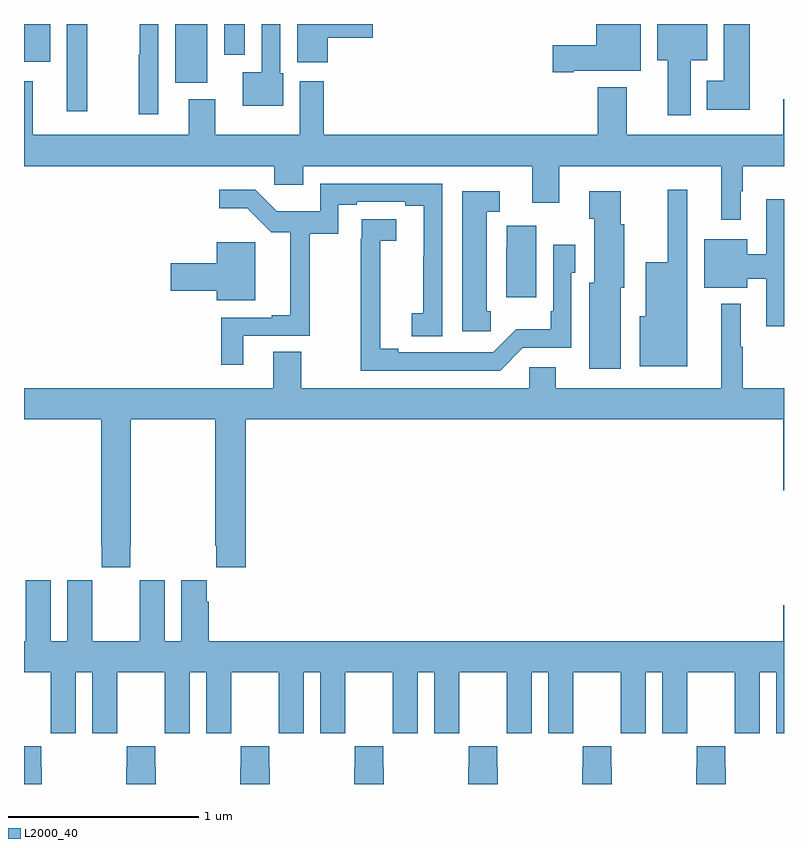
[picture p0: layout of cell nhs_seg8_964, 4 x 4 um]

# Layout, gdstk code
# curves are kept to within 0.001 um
import gdstk
lib = gdstk.Library(unit=1e-6, precision=1e-09)
def R(c, l, rs):  # rectangles x0, y0, x1, y1
    for r in rs: c.add(gdstk.rectangle(r[:2], r[2:], *l))
def P(c, l, *ps):  # polygons
    for p in ps: c.add(gdstk.Polygon(p, *l))
L2000_40 = (2000, 40)

nhs_seg8_964 = lib.new_cell('nhs_seg8_964')
R(nhs_seg8_964, L2000_40, [(173.225,1131.441,173.332,1131.9), (173.795,1131.59,173.965,1131.9), (173,1131.701,173.137,1131.9), (174.053,1131.738,174.163,1131.9)])
P(nhs_seg8_964, L2000_40, [(175.894,1131.653),(176.245,1131.653),(176.245,1131.9),(176.012,1131.9),(176.012,1131.788),(175.782,1131.788),(175.782,1131.646),(175.894,1131.646)],
  [(174.599,1131.827),(174.835,1131.827),(174.835,1131.9),(174.437,1131.9),(174.437,1131.699),(174.599,1131.699)],
  [(173.706,1131.9),(173.61,1131.9),(173.61,1131.738),(173.605,1131.738),(173.605,1131.426),(173.706,1131.426)],
  [(176.509,1131.71),(176.596,1131.71),(176.596,1131.9),(176.333,1131.9),(176.333,1131.71),(176.387,1131.71),(176.387,1131.42),(176.509,1131.42)],
  [(174.364,1131.642),(174.348,1131.642),(174.348,1131.9),(174.252,1131.9),(174.252,1131.646),(174.152,1131.646),(174.152,1131.47),(174.364,1131.47)],
  [(176.819,1131.9),(176.684,1131.9),(176.684,1131.601),(176.594,1131.601),(176.594,1131.449),(176.819,1131.449)],
  [(176.773,1131.02),(176.783,1131.02),(176.783,1131.152),(177,1131.152),(177,1131.505),(176.996,1131.505),(176.996,1131.316),(176.173,1131.316),(176.173,1131.568),(176.021,1131.568),(176.021,1131.316),(174.578,1131.316),(174.578,1131.598),(174.452,1131.598),(174.452,1131.316),(174.007,1131.316),(174.007,1131.505),(173.867,1131.505),(173.867,1131.316),(173.047,1131.316),(173.047,1131.598),(173,1131.598),(173,1131.152),(174.318,1131.152),(174.318,1131.054),(174.469,1131.054),(174.469,1131.152),(175.676,1131.152),(175.676,1130.958),(175.816,1130.958),(175.816,1131.152),(176.669,1131.152),(176.669,1130.871),(176.773,1130.871)],
  [(174.154,1130.259),(174.503,1130.259),(174.503,1130.797),(174.654,1130.797),(174.654,1130.95),(174.751,1130.95),(174.751,1130.964),(175.007,1130.964),(175.007,1130.944),(175.103,1130.944),(175.102,1130.377),(175.041,1130.377),(175.041,1130.257),(175.2,1130.257),(175.2,1131.06),(174.558,1131.06),(174.558,1130.914),(174.329,1130.914),(174.216,1131.027),(174.027,1131.027),(174.027,1130.93),(174.175,1130.93),(174.301,1130.805),(174.401,1130.805),(174.401,1130.368),(174.305,1130.368),(174.305,1130.355),(174.037,1130.355),(174.037,1130.106),(174.154,1130.106)],
  [(176.491,1131.028),(176.387,1131.028),(176.387,1130.647),(176.273,1130.647),(176.273,1130.362),(176.24,1130.362),(176.24,1130.099),(176.491,1130.099)],
  [(175.457,1130.388),(175.435,1130.388),(175.435,1130.911),(175.504,1130.911),(175.504,1131.019),(175.307,1131.019),(175.307,1130.283),(175.457,1130.283)],
  [(176.14,1130.511),(176.158,1130.511),(176.158,1130.847),(176.14,1130.847),(176.14,1131.019),(175.976,1131.019),(175.976,1130.874),(176,1130.874),(176,1130.538),(175.976,1130.538),(175.976,1130.085),(176.14,1130.085)],
  [(177,1130.977),(176.906,1130.977),(176.906,1130.689),(176.806,1130.689),(176.806,1130.767),(176.579,1130.767),(176.579,1130.513),(176.806,1130.513),(176.806,1130.56),(176.906,1130.56),(176.906,1130.31),(177,1130.31)],
  [(175.626,1130.196),(175.881,1130.196),(175.881,1130.592),(175.902,1130.592),(175.902,1130.737),(175.785,1130.737),(175.785,1130.389),(175.773,1130.389),(175.773,1130.293),(175.591,1130.293),(175.47,1130.172),(174.97,1130.172),(174.97,1130.192),(174.874,1130.192),(174.876,1130.758),(174.958,1130.758),(174.958,1130.873),(174.778,1130.873),(174.778,1130.771),(174.772,1130.771),(174.772,1130.076),(175.506,1130.076)],
  [(175.696,1130.839),(175.54,1130.839),(175.54,1130.726),(175.538,1130.726),(175.538,1130.463),(175.696,1130.463)],
  [(174.217,1130.752),(174.014,1130.752),(174.014,1130.642),(173.772,1130.642),(173.772,1130.495),(174.014,1130.495),(174.014,1130.447),(174.217,1130.447)],
  [(176.996,1129.446),(177,1129.446),(177,1129.984),(176.783,1129.984),(176.783,1130.201),(176.773,1130.201),(176.773,1130.428),(176.669,1130.428),(176.669,1129.984),(175.798,1129.984),(175.798,1130.094),(175.659,1130.094),(175.659,1129.984),(174.459,1129.984),(174.459,1130.174),(174.311,1130.174),(174.311,1129.984),(173,1129.984),(173,1129.82),(173.407,1129.82),(173.407,1129.153),(173.409,1129.153),(173.409,1129.041),(173.559,1129.041),(173.559,1129.153),(173.562,1129.153),(173.562,1129.82),(174.007,1129.82),(174.007,1129.153),(174.013,1129.153),(174.013,1129.041),(174.167,1129.041),(174.167,1129.82),(176.996,1129.82)],
  [(173.741,1128.28),(173.742,1128.28),(173.742,1128.168),(173.872,1128.168),(173.872,1128.488),(173.96,1128.488),(173.96,1128.168),(174.09,1128.168),(174.09,1128.28),(174.091,1128.28),(174.091,1128.488),(174.341,1128.488),(174.341,1128.28),(174.342,1128.28),(174.342,1128.168),(174.472,1128.168),(174.472,1128.488),(174.56,1128.488),(174.56,1128.168),(174.69,1128.168),(174.69,1128.28),(174.691,1128.28),(174.691,1128.488),(174.941,1128.488),(174.941,1128.28),(174.942,1128.28),(174.942,1128.168),(175.072,1128.168),(175.072,1128.488),(175.16,1128.488),(175.16,1128.168),(175.29,1128.168),(175.29,1128.28),(175.291,1128.28),(175.291,1128.488),(175.541,1128.488),(175.541,1128.28),(175.542,1128.28),(175.542,1128.168),(175.672,1128.168),(175.672,1128.488),(175.76,1128.488),(175.76,1128.168),(175.89,1128.168),(175.89,1128.28),(175.891,1128.28),(175.891,1128.488),(176.141,1128.488),(176.141,1128.28),(176.142,1128.28),(176.142,1128.168),(176.272,1128.168),(176.272,1128.488),(176.36,1128.488),(176.36,1128.168),(176.49,1128.168),(176.49,1128.28),(176.491,1128.28),(176.491,1128.488),(176.741,1128.488),(176.741,1128.28),(176.742,1128.28),(176.742,1128.168),(176.872,1128.168),(176.872,1128.488),(176.96,1128.488),(176.96,1128.168),(177,1128.168),(177,1128.841),(176.996,1128.841),(176.996,1128.652),(173.972,1128.652),(173.972,1128.86),(173.962,1128.86),(173.962,1128.973),(173.828,1128.973),(173.828,1128.652),(173.74,1128.652),(173.74,1128.973),(173.61,1128.973),(173.61,1128.86),(173.609,1128.86),(173.609,1128.652),(173.359,1128.652),(173.359,1128.86),(173.358,1128.86),(173.358,1128.973),(173.228,1128.973),(173.228,1128.652),(173.14,1128.652),(173.14,1128.973),(173.01,1128.973),(173.01,1128.86),(173.009,1128.86),(173.009,1128.652),(173,1128.652),(173,1128.488),(173.141,1128.488),(173.141,1128.28),(173.142,1128.28),(173.142,1128.168),(173.272,1128.168),(173.272,1128.488),(173.36,1128.488),(173.36,1128.168),(173.49,1128.168),(173.49,1128.28),(173.491,1128.28),(173.491,1128.488),(173.741,1128.488)],
  [(173.094,1127.987),(173.091,1127.987),(173.091,1128.1),(173,1128.1),(173,1127.9),(173.094,1127.9)],
  [(176.694,1127.987),(176.691,1127.987),(176.691,1128.1),(176.541,1128.1),(176.541,1127.987),(176.539,1127.987),(176.539,1127.9),(176.694,1127.9)],
  [(176.094,1127.987),(176.091,1127.987),(176.091,1128.1),(175.941,1128.1),(175.941,1127.987),(175.939,1127.987),(175.939,1127.9),(176.094,1127.9)],
  [(175.494,1127.987),(175.491,1127.987),(175.491,1128.1),(175.341,1128.1),(175.341,1127.987),(175.339,1127.987),(175.339,1127.9),(175.494,1127.9)],
  [(174.894,1127.987),(174.891,1127.987),(174.891,1128.1),(174.741,1128.1),(174.741,1127.987),(174.739,1127.987),(174.739,1127.9),(174.894,1127.9)],
  [(174.294,1127.987),(174.291,1127.987),(174.291,1128.1),(174.141,1128.1),(174.141,1127.987),(174.139,1127.987),(174.139,1127.9),(174.294,1127.9)],
  [(173.694,1127.987),(173.691,1127.987),(173.691,1128.1),(173.541,1128.1),(173.541,1127.987),(173.539,1127.987),(173.539,1127.9),(173.694,1127.9)])

lib.write_gds('nhs_seg8_964.gds')
